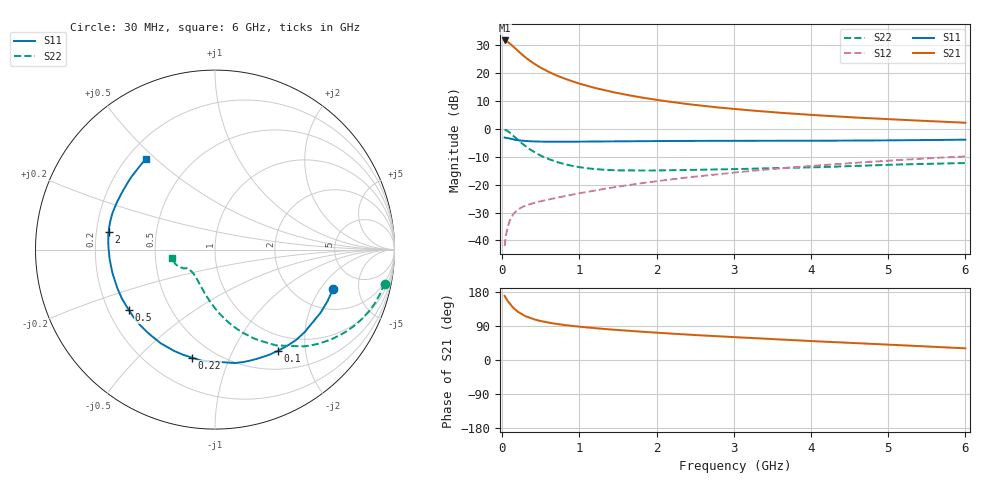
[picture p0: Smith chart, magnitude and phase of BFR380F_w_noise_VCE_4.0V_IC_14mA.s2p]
! Infineon Technologies  Discrete & RF Semiconductors
! BFR380F
! VCE =  4.0 V,  IC =  14 mA
! Common Emitter S-Parameters:  Nov 2015
# GHz  S  MA  R  50
!  f  S11  S21  S12  S22
! GHz  MAG  ANG  MAG  ANG  MAG  ANG  MAG  ANG
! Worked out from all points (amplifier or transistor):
!   206 points, 30 MHz to 6 GHz, reference 50 ohm
!   highest |S21| = 31.6 dB at 30 MHz (marker M1)
!   |S21| within 3 dB of that: start of sweep to 173.6 MHz
!   unconditionally stable (mu >= 1): 1.582 GHz to 5.012 GHz
!   at 200 MHz: K = 0.29, MSG = 28.4 dB, |S12| = -29.0 dB
!   at 1.56 GHz: K = 1.00, MSG = 16.4 dB, |S12| = -20.5 dB
!   at 6 GHz: K = 0.98, MSG = 6.0 dB, |S12| = -9.9 dB
!   lowest NFmin = 0.94 dB at 900 MHz
!   S11 on the Smith chart (normalised r, x): 30 MHz: 3.12, -2.66; 100 MHz: 0.76, -1.52; 220 MHz: 0.38, -0.74; 500 MHz: 0.28, -0.29; 2 GHz: 0.25, +0.08; 6 GHz: 0.27, +0.47
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0.03  0.6935 -18.6  37.88 169.2  0.0079 82.1  0.9641 -11.3
0.05  0.6853 -31.0  37.12 162.1  0.0129 77.3  0.9401 -18.5
0.07  0.679 -42.6  35.68 155.9  0.0174 72.1  0.9046 -25.4
0.1  0.6637 -58.2  33.15 147.7  0.0232 65.9  0.842 -34.6
0.12  0.6534 -67.4  31.36 142.7  0.0263 62.3  0.7976 -40.1
0.15  0.6415 -80.1  28.79 136.2  0.0304 58.0  0.7324 -47.4
0.2  0.6237 -96.9  24.76 127.4  0.0354 53.0  0.6336 -57.4
0.22  0.6155 -101.9  23.43 125.0  0.0369 51.6  0.5999 -60.3
0.26  0.6089 -111.7  20.96 119.9  0.0397 49.4  0.539 -66.5
0.3  0.6032 -120.1  18.84 115.6  0.0419 48.1  0.4867 -71.7
0.34  0.5966 -126.6  17.09 112.4  0.0438 47.3  0.4443 -76.0
0.4  0.5925 -134.7  14.92 108.0  0.0464 46.9  0.3922 -81.8
0.5  0.5869 -145.0  12.27 102.6  0.0504 47.2  0.3289 -89.7
0.7  0.5851 -158.1  8.997 95.2  0.0579 49.7  0.255 -102.1
1.04  0.5867 -170.9  6.165 87.0  0.0716 54.5  0.2008 -117.3
1.4  0.5924 -179.6  4.61 80.6  0.0872 58.1  0.1817 -129.1
2  0.6014 170.6  3.272 72.1  0.115 61.4  0.1789 -139.5
2.02  0.6014 170.3  3.244 71.9  0.1159 61.5  0.179 -139.7
3.1  0.606 158.1  2.191 59.4  0.1689 62.6  0.1903 -147.0
4.1  0.6089 147.4  1.73 49.0  0.2207 60.7  0.2047 -149.4
5.1  0.6185 137.6  1.456 39.6  0.2726 57.5  0.2279 -156.7
6  0.6364 127.2  1.277 30.8  0.3187 53.2  0.2428 -168.3
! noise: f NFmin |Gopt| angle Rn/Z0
0.45  0.96  0.12  161  0.08
0.9  0.94  0.2  154  0.08
1.8  1.18  0.33  176  0.07
1.9  1.26  0.34  176  0.07
2.4  1.38  0.37  -171  0.08
3.5  1.98  0.48  -157  0.11
